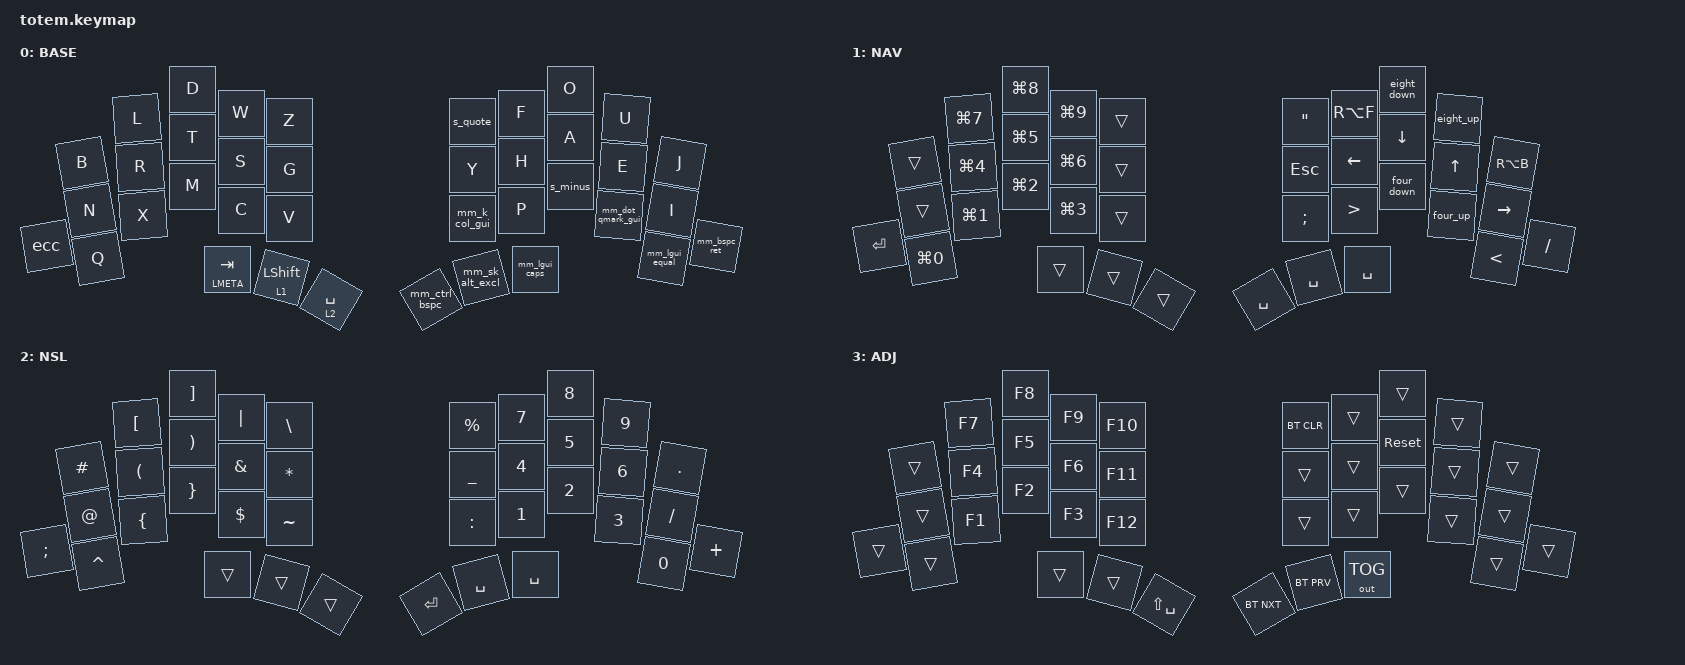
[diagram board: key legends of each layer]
#include <behaviors.dtsi>
#include <dt-bindings/zmk/keys.h>
#include <dt-bindings/zmk/bt.h>
#include <dt-bindings/zmk/outputs.h>

#define BASE 0
#define NAV  1
#define NSL  2
#define ADJ  3

&mt {
  /* tapping-term-ms = <170>; */
    quick-tap-ms = <250>;
    /* flavor = "hold-preferred"; */
  /* global-quick-tap; */
};

&lt {
    /* tapping-term-ms = <170>; */
    quick-tap-ms = <250>;
    /* flavor = "tap-preferred"; */
    /* global-quick-tap; */
    require-prior-idle-ms = <250>;
};

&sk {
    quick-release;
};

/ {
    behaviors {
       /*
        *
        */
        caps_tdr: caps_tap_dance_right {
            compatible = "zmk,behavior-tap-dance";
            #binding-cells = <0>;
            tapping-term-ms = <200>;
            /* bindings = <&smt RSHFT RALT>, <&caps_word>; */
            bindings = <&sk RALT>, <&caps_word>;
        };

        caps_tdl: caps_tap_dance_left {
            compatible = "zmk,behavior-tap-dance";
            #binding-cells = <0>;
            tapping-term-ms = <200>;
            bindings = <&slt 1 LSHFT>, <&caps_word>;
        };


       /*   Custom mod-tap/layer-tap behavior.
        *   The main idea is to accomodate
        *   the one-shot (i.e. sticky) mods.
        */
        slt: sticky_layer_tap {
            compatible = "zmk,behavior-hold-tap";
            #binding-cells = <2>;
            flavor = "hold-preferred";
            tapping-term-ms = <200>;
            /* require-prior-idle-ms = <250>; */
            bindings = <&mo>, <&sk>;
            display-name = "Sticky-Layer-Tap";
        };

        smt: sticky_mod_tap {
            compatible = "zmk,behavior-hold-tap";
            #binding-cells = <2>;
            // TODO: if intend to use in the future,
            //       might want to revert back to "hold-preferred"
            //       for standard behavior
            flavor = "tap-unless-interrupted";
            tapping-term-ms = <200>;
            bindings = <&kp>, <&sk>;
            display-name = "Sticky-Mod-Tap";
        };

       /*   Tapping the key invokes the Caps-Word
        *   behavior while holding it is used
        *   as a regular key press.
        *
        *   One thing to note here is that the second parameter
        *   is passed a dummy argument value (e.g. 0), per the 
        *   official documentation.
        */
        ht_caps: hold_tap_caps {
            compatible = "zmk,behavior-hold-tap";
            #binding-cells = <2>;
            tapping-term-ms = <200>;
            bindings = <&kp>, <&caps_word>;
            display-name = "Caps Hold Tap";
        };

       /*   CTRL -based behavior of what would normally be a plain SPACE.
        *   Implemented as nested mod-morphs. The main idea is that `space`
        *   and `comma` are among the most commonly typed characters; hence
        *   their optimized placement (again, not without some individual
        *   preferences).
        */
        spc_L1: rctl_space {
            compatible = "zmk,behavior-mod-morph";
            #binding-cells = <0>;
            bindings = <&lt 2 SPACE>, <&kp COMMA>;
            mods = <(MOD_RCTL)>;
        };

        spc_L0: lctl_space {
            compatible = "zmk,behavior-mod-morph";
            #binding-cells = <0>;
            /* bindings = <&spc_L1>, <&kp COLON>; */
            bindings = <&lt 2 SPACE>, <&kp COLON>;
            mods = <(MOD_LCTL)>;
        };

       /*   Quasi-Shift behavior for certain keys.
        *   In the traditional QWERTY layout/keyboard proper,
        *   pairs of non-alphanumeric symbols seem to be tightly coupled
        *   with one another via Shift Mod Key (e.g. / and ? ).
        *   In ZMK, there could actually be an easier way to decouple them,
        *   and, as such, this schema is also subject to revision.
        */
        s_minus: shift_minus {
            compatible = "zmk,behavior-mod-morph";
            #binding-cells = <0>;
            /* bindings = <&kp MINUS>, <&kp PLUS>; */
            bindings = <&kp MINUS>, <&s_minus_ext>;
            mods = <(MOD_LSFT|MOD_RSFT|MOD_LGUI)>;
            keep-mods = <MOD_LGUI>;
        };

        s_minus_ext: s_minus_ext {
            compatible = "zmk,behavior-mod-morph";
            #binding-cells = <0>;
            bindings = <&kp PLUS>, <&kp EXCL>;
            mods = <MOD_LGUI>;
        };

        s_dot: shift_dot {
            compatible = "zmk,behavior-mod-morph";
            #binding-cells = <0>;
            bindings = <&kp DOT>, <&kp GT>;
            mods = <(MOD_LSFT|MOD_RSFT)>;
        };

        s_slash: shift_slash {
            compatible = "zmk,behavior-mod-morph";
            #binding-cells = <0>;
            bindings = <&kp FSLH>, <&kp LT>;
            mods = <(MOD_LSFT|MOD_RSFT)>;
        };

        s_quote: shift_quotes {
            compatible = "zmk,behavior-mod-morph";
            #binding-cells = <0>;
            bindings = <&kp APOS>, <&kp GRAVE>;
            mods = <(MOD_LSFT|MOD_RSFT)>;
        };

        ecc: esc_comma_ctl {
            compatible = "zmk,behavior-mod-morph";
            #binding-cells = <0>;
            bindings = <&mt LCTRL ESC>, <&kp COMMA>;
            /* bindings = <&kp LCTRL>, <&kp COMMA>; */
            mods = <MOD_RCTL>;
        };

       /*
        *
        *
        */
        mm_lgui_equal: mm_lgui_equal {
            compatible = "zmk,behavior-mod-morph";
            #binding-cells = <0>;
            bindings = <&kp EQUAL>, <&kp SPACE>;
            mods = <MOD_LGUI>;
        };

        mm_lgui_caps: mm_lgui_caps {
            compatible = "zmk,behavior-mod-morph";
            #binding-cells = <0>;
            bindings = <&ht_caps LSHFT 0>, <&kp SPACE>;
            mods = <MOD_LGUI>;
        };

        mm_ctrl_bspc: ctrl_bspc {
            compatible = "zmk,behavior-mod-morph";
            #binding-cells = <0>;
            /* bindings = <&mt RCTRL BSPC>, <&kp BSPC>; */
            /* bindings = <&mt RCTRL BSPC>, <&mm_meta_qmark>; */
            bindings = <&mt RCTRL BSPC>, <&kp RET>;
            mods = <(MOD_LGUI|MOD_LCTL)>;
            /* keep-mods = <MOD_LCTL>; */
        };

        mm_meta_qmark: mm_meta_qmark {
            compatible = "zmk,behavior-mod-morph";
            #binding-cells = <0>;
            bindings = <&kp QMARK>, <&kp BSPC>;
            mods = <MOD_LCTL>;
            keep-mods = <MOD_LCTL>;
        };
        
        mm_sk_alt_excl: mm_sk_alt_excl {
            compatible = "zmk,behavior-mod-morph";
            #binding-cells = <0>;
            bindings = <&sk LALT>, <&kp EXCL>;
            mods = <MOD_LGUI>;
        };

        mm_k_col_gui: mm_k_col_gui {
            compatible = "zmk,behavior-mod-morph";
            #binding-cells = <0>;
            bindings = <&kp K>, <&kp COLON>;
            mods = <MOD_LGUI>;
        };

        mm_dot_qmark_gui: mm_dot_qmark_gui {
            compatible = "zmk,behavior-mod-morph";
            #binding-cells = <0>;
            bindings = <&kp DOT>, <&kp QMARK>;
            mods = <MOD_LGUI>;
        };

        mm_h_excl_gui: mm_h_excl_gui {
            compatible = "zmk,behavior-mod-morph";
            #binding-cells = <0>;
            bindings = <&kp H>, <&kp EXCL>;
            mods = <MOD_LGUI>;
        };

        mm_bspc_ret: mm_bspc_ret {
            compatible = "zmk,behavior-mod-morph";
            #binding-cells = <0>;
            bindings = <&lt 3 RET>, <&kp BSPC>;
            mods = <MOD_RCTL>;
            keep-mods = <MOD_RCTL>;
        };

    };

    macros {
       /*   Easier navigation macros.  */
        four_down: four_down_macro {
            compatible = "zmk,behavior-macro";
            #binding-cells = <0>;
            bindings = <&macro_tap &kp DOWN &kp DOWN &kp DOWN &kp DOWN>;
        };

        four_up: four_up_macro {
            compatible = "zmk,behavior-macro";
            #binding-cells = <0>;
            bindings = <&macro_tap &kp UP &kp UP &kp UP &kp UP>;
        };

        eight_down: eight_down_macro {
            compatible = "zmk,behavior-macro";
            #binding-cells = <0>;
            bindings = <&macro_tap &kp N8 &kp DOWN>;
        };

        eight_up: eight_up_macro {
            compatible = "zmk,behavior-macro";
            #binding-cells = <0>;
            bindings = <&macro_tap &kp N8 &kp UP>;
        };
    };

/* ---------------------------------------------------------------------------------------------------------------------------------------------------- 
              ┏━━━━━━━━━━━┳━━━━━━━━━━━┳━━━━━━━━━━━┳━━━━━━━━━━━┳━━━━━━━━━━━┓   ┏━━━━━━━━━━━┳━━━━━━━━━━━┳━━━━━━━━━━━┳━━━━━━━━━━━┳━━━━━━━━━━━┓
              ┃     b     ┃     l     ┃     d     ┃     w     ┃    z      ┃   ┃     "     ┃     f     ┃     o     ┃     u     ┃     j     ┃
              ┣━━━━━━━━━━━╋━━━━━━━━━━━╋━━━━━━━━━━━╋━━━━━━━━━━━╋━━━━━━━━━━━┫   ┣━━━━━━━━━━━╋━━━━━━━━━━━╋━━━━━━━━━━━╋━━━━━━━━━━━╋━━━━━━━━━━━┫
              ┃     n     ┃     r     ┃     t     ┃     s     ┃    g      ┃   ┃     y     ┃     h     ┃     a     ┃     e     ┃     i     ┃
  ┏━━━━━━━━━━━╋━━━━━━━━━━━╋━━━━━━━━━━━╋━━━━━━━━━━━╋━━━━━━━━━━━╋━━━━━━━━━━━┫   ┣━━━━━━━━━━━╋━━━━━━━━━━━╋━━━━━━━━━━━╋━━━━━━━━━━━╋━━━━━━━━━━━╋━━━━━━━━━━━┓
  ┃           ┃     q     ┃     x     ┃     m     ┃     c     ┃    v      ┃   ┃     k     ┃     p     ┃   - (+)   ┃   . (>)   ┃  / (<)    ┃           ┃
  ┗━━━━━━━━━━━┻━━━━━━━━━━━┻━━━━━━━━━━━╋━━━━━━━━━━━╋━━━━━━━━━━━╋━━━━━━━━━━━┫   ┣━━━━━━━━━━━╋━━━━━━━━━━━╋━━━━━━━━━━━╋━━━━━━━━━━━┻━━━━━━━━━━━┻━━━━━━━━━━━┛
                                      ┃           ┃           ┃           ┃   ┃           ┃           ┃           ┃
                                      ┗━━━━━━━━━━━┻━━━━━━━━━━━┻━━━━━━━━━━━┛   ┗━━━━━━━━━━━┻━━━━━━━━━━━┻━━━━━━━━━━━┛
*/
    keymap {
        compatible = "zmk,keymap";
        base_layer {
            label= "BASE";
            bindings = <
                  &kp B     &kp L       &kp D         &kp W         &kp Z       &s_quote       &kp F     &kp O      &kp U             &kp J
                  &kp N     &kp R       &kp T         &kp S         &kp G       &kp Y          &kp H     &kp A      &kp E             &kp I
    &ecc          &kp Q     &kp X       &kp M         &kp C         &kp V       &mm_k_col_gui  &kp P     &s_minus   &mm_dot_qmark_gui &mm_lgui_equal &mm_bspc_ret
                                        &mt LMETA TAB &slt 1 LSHFT  &lt 2 SPACE &mm_ctrl_bspc  &mm_sk_alt_excl &mm_lgui_caps
            >;
        };
/* ---------------------------------------------------------------------------------------------------------------------------------------------------- */
        nav_layer {
            label= "NAV";
            bindings = <
                &trans     &kp LG(N7)  &kp LG(N8)   &kp LG(N9)  &trans          &kp DQT    &kp RA(F)    &eight_down &eight_up   &kp RA(B)
                &trans     &kp LG(N4)  &kp LG(N5)   &kp LG(N6)  &trans          &kp ESC    &kp LEFT     &kp DOWN    &kp UP      &kp RIGHT
    &kp RET     &kp LG(N0) &kp LG(N1)  &kp LG(N2)   &kp LG(N3)  &trans          &kp SEMI   &kp GT       &four_down  &four_up    &kp LT     &kp FSLH
                                       &trans       &trans      &trans          &kp SPACE  &kp SPACE    &kp SPACE
            >;
        };
/* ---------------------------------------------------------------------------------------------------------------------------------------------------- */
        num_sym_layer {
            label= "NSL";
            bindings = <
                &kp HASH    &kp LBKT    &kp RBKT     &kp PIPE    &kp BSLH        &kp PRCNT   &kp N7      &kp N8      &kp N9     &kp DOT
                &kp AT      &kp LPAR    &kp RPAR     &kp AMPS    &kp ASTRK       &kp UNDER   &kp N4      &kp N5      &kp N6     &kp FSLH
    &kp SEMI    &kp CARET   &kp LBRC    &kp RBRC     &kp DOLLAR  &kp TILDE       &kp COLON   &kp N1      &kp N2      &kp N3     &kp N0      &kp PLUS
                                        &trans       &trans      &trans          &kp RET     &kp SPACE   &kp SPACE
            >;
        };
/* ---------------------------------------------------------------------------------------------------------------------------------------------------- */
        adjust_layer {
            label= "ADJ";
            bindings = <
                &trans       &kp F7     &kp F8       &kp F9      &kp F10         &bt BT_CLR   &trans      &trans       &trans      &trans
                &trans       &kp F4     &kp F5       &kp F6      &kp F11         &trans       &trans      &sys_reset   &trans      &trans
    &trans      &trans       &kp F1     &kp F2       &kp F3      &kp F12         &trans       &trans      &trans       &trans      &trans    &trans
                                        &trans       &trans      &kp LS(SPACE)   &bt BT_NXT   &bt BT_PRV  &out OUT_TOG
            >;
        };
    };
};
